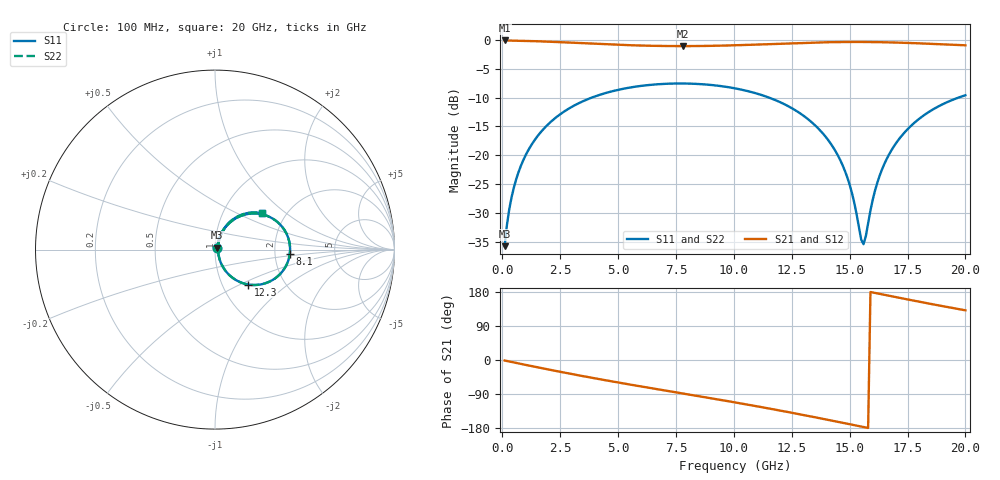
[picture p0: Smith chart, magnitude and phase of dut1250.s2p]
! Touchstone file exported from HFSS 2026.1.0
!  File:  C:/ffzhzh/LocalFiles/Ansys_Project_Files/temp_train_TSV_RDL_1250_1783325336_30076.aedt
!  Generated:  04:23:39 PM Jul  6, 2026
!  Design:  TSV_RDL
!  Project:  temp_train_TSV_RDL_1250_1783325336_30076
! Variables:
!  h_bsmrdl = 4.48um
!  h_ox = 20um
!  h_rdl = 5um
!  h_sub = 96.67um
!  h_tmrdl = 4.96um
!  h_tsv = 96.67um
!  h_via = 3um
!  l_bsmrdl = 826.22um
!  l_sub = 3670.4um
!  l_tmrdl = 163.27um
!  m_sub = 200um
!  pitch = 45.9um
!  r_tsv = 8.28um
!  s_tmrdl = 10um
!  w_bsmrdl = 25.56um
!  w_sub = 500um
!  w_tmrdl = 20.66um
!  x_tsv_center1 = 173.6um
!  x_tsv_center2 = 1025.38um
!  x_tsv_center3 = 1209.31um
!  x_tsv_center4 = 2061.09um
!  x_tsv_center5 = 2245.02um
!  x_tsv_center6 = 3096.8um
# GHz S MA R 50.000000
! Terminal data exported
! Port[1] = TM_RDL1_1_T1
! Port[2] = TM_RDL5_1_T1
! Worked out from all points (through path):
!   200 points, 100 MHz to 20 GHz, reference 50 ohm
!   highest |S21| = -0.11 dB at 100 MHz (marker M1); lowest = -1.1 dB at 7.8 GHz (marker M2)
!   group delay of S21, straight-line fit = 31.2 ps
!   lowest |S11| = -35.8 dB at 100 MHz (marker M3), VSWR 1.03, Z = 51.2 + j1.1 ohm
!   |S11| at or under -10 dB: start of sweep to 3.877 GHz; 11.51 GHz to 19.71 GHz (8.204 GHz wide, 52.6 % of centre)
!   |S22| runs from -35.8 to -7.6 dB; largest |S21 - S12| = 3.7e-14
!   S11 on the Smith chart (normalised r, x): 100 MHz: 1.02, +0.02; 8.1 GHz: 2.42, -0.16; 12.3 GHz: 1.32, -0.56; 20 GHz: 1.52, +0.69
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0.1  0.01624 41.2  0.988 -1.3  0.988 -1.3  0.01624 41.2
! Gamma 0 0 0 0
! Port Impedance 50 0 50 0
0.3  0.03384 62.8  0.9861 -3.9  0.9861 -3.9  0.03384 62.8
0.5  0.05239 67.8  0.9845 -6.5  0.9845 -6.5  0.05239 67.8
1.1  0.1083 67.5  0.9783 -14.0  0.9783 -14.0  0.1083 67.5
2.1  0.195 58.3  0.9625 -26.3  0.9625 -26.3  0.195 58.3
3.5  0.2945 43.2  0.9342 -42.8  0.9342 -42.8  0.2945 43.2
5.1  0.372 26.3  0.9044 -60.4  0.9044 -60.4  0.372 26.3
6.8  0.4131 9.2  0.8856 -78.2  0.8856 -78.2  0.4131 9.2
7.8  0.4183 -0.7  0.8826 -88.4  0.8826 -88.4  0.4183 -0.7
8.1  0.4172 -3.7  0.8829 -91.5  0.8829 -91.5  0.4172 -3.6
10.1  0.378 -23.6  0.8978 -112.4  0.8978 -112.4  0.378 -23.6
12.3  0.2691 -46.3  0.9307 -136.9  0.9307 -136.9  0.2691 -46.3
13.4  0.19 -57.5  0.9464 -149.9  0.9464 -149.9  0.19 -57.4
14.1  0.133 -63.6  0.9537 -158.3  0.9537 -158.3  0.133 -63.5
14.7  0.08148 -66.1  0.9576 -165.7  0.9576 -165.7  0.08151 -66.0
15.1  0.04702 -61.9  0.9588 -170.7  0.9588 -170.7  0.04708 -61.7
15.5  0.01851 -22.2  0.9587 -175.6  0.9587 -175.6  0.01864 -22.0
15.6  0.0169 5.8  0.9585 -176.9  0.9585 -176.9  0.01704 5.8
16.1  0.04954 65.2  0.9562 176.9  0.9562 176.9  0.04958 65.0
16.7  0.1011 68.3  0.9511 169.6  0.9511 169.6  0.1011 68.2
18  0.2064 57.9  0.9328 153.9  0.9328 153.9  0.2064 57.9
20  0.3309 37.6  0.8969 131.1  0.8969 131.1  0.3308 37.6
